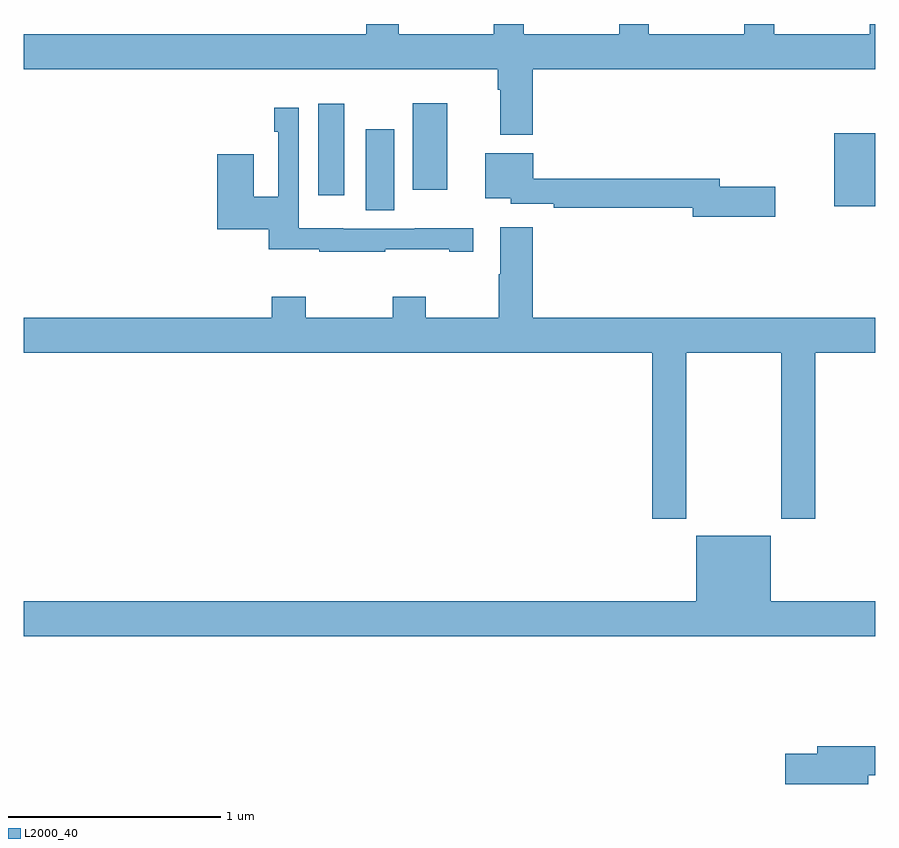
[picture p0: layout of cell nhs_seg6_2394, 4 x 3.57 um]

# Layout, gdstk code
import gdstk
lib = gdstk.Library(unit=1e-6, precision=1e-09)
def R(c, l, rs):  # rectangles x0, y0, x1, y1
    for r in rs: c.add(gdstk.rectangle(r[:2], r[2:], *l))
def P(c, l, *ps):  # polygons
    for p in ps: c.add(gdstk.Polygon(p, *l))
L2000_40 = (2000, 40)

nhs_seg6_2394 = lib.new_cell('nhs_seg6_2394')
R(nhs_seg6_2394, L2000_40, [(254.606,994.624,254.74,995.005), (256.808,994.643,257,994.987), (254.384,994.695,254.506,995.125), (254.828,994.722,254.989,995.128)])
P(nhs_seg6_2394, L2000_40, [(255.392,995.288),(257,995.288),(257,995.5),(256.973,995.5),(256.973,995.452),(256.525,995.452),(256.525,995.5),(256.385,995.5),(256.385,995.452),(255.937,995.452),(255.937,995.5),(255.797,995.5),(255.797,995.452),(255.349,995.452),(255.349,995.5),(255.209,995.5),(255.209,995.452),(254.761,995.452),(254.761,995.5),(254.609,995.5),(254.609,995.452),(253,995.452),(253,995.288),(255.227,995.288),(255.227,995.192),(255.239,995.192),(255.239,994.979),(255.392,994.979)],
  [(254.699,994.441),(254.999,994.441),(254.999,994.431),(255.112,994.431),(255.112,994.541),(254.836,994.541),(254.836,994.539),(254.502,994.539),(254.502,994.54),(254.292,994.54),(254.292,995.107),(254.176,995.107),(254.176,994.994),(254.196,994.994),(254.196,994.688),(254.08,994.688),(254.08,994.888),(253.91,994.888),(253.91,994.535),(254.15,994.535),(254.15,994.441),(254.389,994.441),(254.389,994.431),(254.699,994.431)],
  [(256.531,994.736),(256.27,994.736),(256.27,994.772),(255.394,994.772),(255.394,994.894),(255.167,994.894),(255.167,994.682),(255.288,994.682),(255.288,994.656),(255.49,994.656),(255.49,994.636),(256.142,994.636),(256.142,994.594),(256.531,994.594)],
  [(256.113,993.956),(256.558,993.956),(256.558,993.177),(256.718,993.177),(256.718,993.956),(257,993.956),(257,994.12),(255.392,994.12),(255.392,994.546),(255.239,994.546),(255.239,994.325),(255.232,994.325),(255.232,994.12),(254.889,994.12),(254.889,994.219),(254.734,994.219),(254.734,994.12),(254.325,994.12),(254.325,994.219),(254.165,994.219),(254.165,994.12),(253,994.12),(253,993.956),(255.953,993.956),(255.953,993.177),(256.113,993.177)],
  [(257,992.788),(256.51,992.788),(256.51,993.097),(256.16,993.097),(256.16,992.788),(253,992.788),(253,992.624),(257,992.624)],
  [(256.966,991.972),(257,991.972),(257,992.108),(256.727,992.108),(256.727,992.072),(256.578,992.072),(256.578,991.93),(256.966,991.93)])

lib.write_gds('nhs_seg6_2394.gds')
